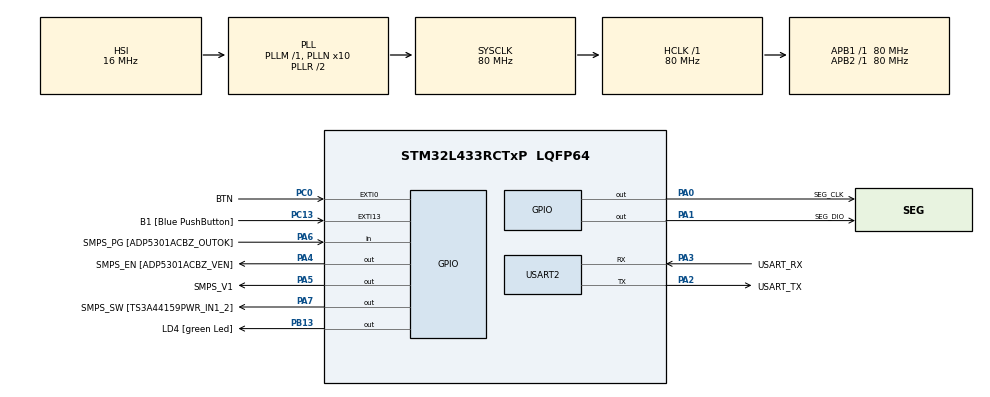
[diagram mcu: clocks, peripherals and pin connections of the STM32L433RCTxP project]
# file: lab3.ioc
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Mcu.Family=STM32L4
Mcu.Name=STM32L433RCTxP
Mcu.Package=LQFP64
NVIC.EXTI0_IRQn=true\:0\:0\:false\:false\:true\:true\:true\:true
NVIC.PriorityGroup=NVIC_PRIORITYGROUP_4
NVIC.TIM6_DAC_IRQn=true\:0\:0\:false\:false\:true\:true\:true\:true
PA0.GPIO_Label=SEG_CLK
PA0.GPIO_PuPd=GPIO_NOPULL
PA0.Signal=GPIO_Output
PA1.GPIO_Label=SEG_DIO
PA1.GPIO_ModeDefaultOutputPP=GPIO_MODE_OUTPUT_OD
PA1.GPIO_PuPd=GPIO_NOPULL
PA1.Signal=GPIO_Output
PA13\ (JTMS-SWDIO).GPIO_Label=TMS
PA13\ (JTMS-SWDIO).Mode=Serial_Wire
PA13\ (JTMS-SWDIO).Signal=SYS_JTMS-SWDIO
PA14\ (JTCK-SWCLK).GPIO_Label=TCK
PA14\ (JTCK-SWCLK).Mode=Serial_Wire
PA14\ (JTCK-SWCLK).Signal=SYS_JTCK-SWCLK
PA2.GPIO_Label=USART_TX
PA2.GPIO_Mode=GPIO_MODE_AF_PP
PA2.GPIO_PuPd=GPIO_NOPULL
PA2.GPIO_Speed=GPIO_SPEED_FREQ_VERY_HIGH
PA2.Mode=Asynchronous
PA2.Signal=USART2_TX
PA3.GPIO_Label=USART_RX
PA3.GPIO_Mode=GPIO_MODE_AF_PP
PA3.GPIO_PuPd=GPIO_NOPULL
PA3.GPIO_Speed=GPIO_SPEED_FREQ_VERY_HIGH
PA3.Mode=Asynchronous
PA3.Signal=USART2_RX
PA4.GPIO_Label=SMPS_EN [ADP5301ACBZ_VEN]
PA4.Signal=GPIO_Output
PA5.GPIO_Label=SMPS_V1
PA5.GPIO_ModeDefaultOutputPP=GPIO_MODE_OUTPUT_PP
PA5.GPIO_PuPd=GPIO_NOPULL
PA5.GPIO_Speed=GPIO_SPEED_FREQ_LOW
PA5.Signal=GPIO_Output
PA6.GPIO_Label=SMPS_PG [ADP5301ACBZ_OUTOK]
PA6.GPIO_PuPd=GPIO_PULLUP
PA6.Signal=GPIO_Input
PA7.GPIO_Label=SMPS_SW [TS3A44159PWR_IN1_2]
PA7.Signal=GPIO_Output
PB13.GPIO_Label=LD4 [green Led]
PB13.Signal=GPIO_Output
PB3\ (JTDO-TRACESWO).GPIO_Label=SWO
PB3\ (JTDO-TRACESWO).Signal=SYS_JTDO-SWO
PC0.GPIO_Label=BTN
PC0.GPIO_ModeDefaultEXTI=GPIO_MODE_IT_FALLING
PC0.Signal=GPXTI0
PC13.GPIO_Label=B1 [Blue PushButton]
PC13.GPIO_ModeDefaultEXTI=GPIO_MODE_IT_FALLING
PC13.GPIO_PuPd=GPIO_NOPULL
PC13.Signal=GPXTI13
PC14-OSC32_IN\ (PC14).Mode=LSE-External-Oscillator
PC14-OSC32_IN\ (PC14).Signal=RCC_OSC32_IN
PC15-OSC32_OUT\ (PC15).Mode=LSE-External-Oscillator
PC15-OSC32_OUT\ (PC15).Signal=RCC_OSC32_OUT
PH0-OSC_IN\ (PH0).GPIO_Label=MCO
PH0-OSC_IN\ (PH0).Mode=HSE-External-Clock-Source
PH0-OSC_IN\ (PH0).Signal=RCC_OSC_IN
PH1-OSC_OUT\ (PH1).Signal=RCC_OSC_OUT
ProjectManager.HeapSize=0x200
ProjectManager.StackSize=0x400
ProjectManager.TargetToolchain=STM32CubeIDE
RCC.ADCFreq_Value=64000000
RCC.AHBFreq_Value=80000000
RCC.APB1Freq_Value=80000000
RCC.APB1TimFreq_Value=80000000
RCC.APB2Freq_Value=80000000
RCC.APB2TimFreq_Value=80000000
RCC.CortexFreq_Value=80000000
RCC.HCLKFreq_Value=80000000
RCC.HSE_VALUE=8000000
RCC.HSI48_VALUE=48000000
RCC.HSI_VALUE=16000000
RCC.MSI_VALUE=4000000
RCC.PLLN=10
RCC.PLLSourceVirtual=RCC_PLLSOURCE_HSI
RCC.PREFETCH_ENABLE=1
RCC.SYSCLKFreq_VALUE=80000000
RCC.SYSCLKSource=RCC_SYSCLKSOURCE_PLLCLK
RCC.USBFreq_Value=64000000
RCC.VCOOutputFreq_Value=160000000
TIM6.Period=1999
TIM6.Prescaler=19999
USART2.VirtualMode-Asynchronous=VM_ASYNC
VP_TIM6_VS_ClockSourceINT.Mode=Enable_Timer
board=NUCLEO-L433RC-P

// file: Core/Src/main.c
/* USER CODE BEGIN Header */
/**
******************************************************************************
* @file           : main.c
* @brief          : Main program body
******************************************************************************
* @attention
*
* Copyright (c) 2025 STMicroelectronics.
* All rights reserved.
*
* This software is licensed under terms that can be found in the LICENSE file
* in the root directory of this software component.
* If no LICENSE file comes with this software, it is provided AS-IS.
*
******************************************************************************
*/
/* USER CODE END Header */
#include "main.h"

/* USER CODE BEGIN Includes */
#include "../Inc/quad_sseg.h"
#include <stdint.h>
#include <stdio.h>
#include <string.h>
/* USER CODE END Includes */

TIM_HandleTypeDef htim6;

UART_HandleTypeDef huart2;

void SystemClock_Config(void);
static void MX_GPIO_Init(void);
static void MX_USART2_UART_Init(void);
static void MX_TIM6_Init(void);

/* USER CODE BEGIN 0 */

#define BOUNCE_DELAY_MS 20

uint16_t button_exti_count = 0;
uint16_t button_debounced_count = 0;
uint16_t last_tick = 0;
int unhandled_exti = 0;
int pressed;

#if 1
uint32_t time = 86385;
#else
uint32_t time = 0;
#endif
uint32_t ticks = 0;

void dispay_time(uint32_t ticks, uint32_t time){
  // converts total seconds to hour, minute and seconds
  int h = time/3600;
  int m = (time-h*3600)/60;
  int s = (time-h*3600-m*60);

  int is_button_pressed = HAL_GPIO_ReadPin(B1_GPIO_Port, B1_Pin);

  switch(is_button_pressed){
    case 1:
      qs_put_digits(h/10, h%10, m/10, m%10, ticks%2);
      break;
    default:
      qs_put_digits(m/10, m%10, s/10, s%10, ticks%2);
      break;
  }
}

void HAL_TIM_PeriodElapsedCallback(TIM_HandleTypeDef *htim){

  // 2 Hz, each tick is 1/2 second.
  // when the ticks are even a second has passed

  if(htim->Instance == TIM6){
    ticks++;
    if(ticks%2==0){
      time++;
      if (time >= 86400){
        time = 0;
      }
    }
    dispay_time(ticks,time);
  }
}

void HAL_GPIO_EXTI_Callback(uint16_t GPIO_Pin)
{
  if(GPIO_Pin == BTN_Pin){
    unhandled_exti = 1;
    last_tick = HAL_GetTick();
    button_exti_count++;
  }
}

void uart_print(const char* str){
  HAL_UART_Transmit(&huart2, (uint8_t *) str, strlen(str), 255);
}

void uart_print_menu(){
  uart_print("This is very nice menu, yes? HEHE\r\nChoose your mode man!?!?!\r\n\t1. Clock mode\r\n\t2. Button Mode\r\n\r\n");
}

int uart_get_menu_choice(){

  char str[1] = {'\0'};
  uint16_t str_len = 1;
  HAL_UART_Receive(&huart2,
                   (uint8_t *) str,
                   str_len,
                   HAL_MAX_DELAY);
  int ret = -1;
  sscanf(str, "%d",&ret);
  return ret;

}

void clock_mode(){
  uart_print("CLOCK MODE!");
  // start the timer
  HAL_TIM_Base_Start_IT(&htim6);
}

void button_mode(){
  uart_print("BUTTON MODE!");
  while(1){
    if (unhandled_exti) // was set in interrupt
    {
      uint16_t now = HAL_GetTick();
      if((now - last_tick) >= BOUNCE_DELAY_MS){
        pressed = GPIO_PIN_RESET
          == HAL_GPIO_ReadPin(BTN_GPIO_Port, BTN_Pin);
        if (pressed) {
          button_debounced_count++;
        }
        unhandled_exti = 0;
      }
    }
    // if blue is holding we display the exti otherwise the deounced
    int b1_pressed = HAL_GPIO_ReadPin(B1_GPIO_Port, B1_Pin);
    if (b1_pressed) {
      qs_put_big_num(button_exti_count);
    }
    else{
      qs_put_big_num(button_debounced_count);
    }
  }
}

void uart_print_bad_choice(){
  uart_print("WHAT THE HECK. THATS NOT IN THE MENUUUU!?!?!?\r\n");
}
/* USER CODE END 0 */

int main(void)
{

  /* MCU Configuration--------------------------------------------------------*/

  /* Reset of all peripherals, Initializes the Flash interface and the Systick. */
  HAL_Init();

  /* Configure the system clock */
  SystemClock_Config();

  /* Initialize all configured peripherals */
  MX_GPIO_Init();
  MX_USART2_UART_Init();
  MX_TIM6_Init();

  /* Infinite loop */
  /* USER CODE BEGIN WHILE */

  while (1)
  {
    uart_print_menu();
    int menu = uart_get_menu_choice();
    switch(menu){
      case 1:
        clock_mode();
        break;
      case 2:
        button_mode();
        break;
      default:
        uart_print_bad_choice();
        break;
    }

    /* USER CODE END WHILE */

  }
}

void SystemClock_Config(void)
{
  RCC_OscInitTypeDef RCC_OscInitStruct = {0};
  RCC_ClkInitTypeDef RCC_ClkInitStruct = {0};

  /** Configure the main internal regulator output voltage
  */
  if (HAL_PWREx_ControlVoltageScaling(PWR_REGULATOR_VOLTAGE_SCALE1) != HAL_OK)
  {
    Error_Handler();
  }

  /** Initializes the RCC Oscillators according to the specified parameters
  * in the RCC_OscInitTypeDef structure.
  */
  RCC_OscInitStruct.OscillatorType = RCC_OSCILLATORTYPE_HSI;
  RCC_OscInitStruct.HSIState = RCC_HSI_ON;
  RCC_OscInitStruct.HSICalibrationValue = RCC_HSICALIBRATION_DEFAULT;
  RCC_OscInitStruct.PLL.PLLState = RCC_PLL_ON;
  RCC_OscInitStruct.PLL.PLLSource = RCC_PLLSOURCE_HSI;
  RCC_OscInitStruct.PLL.PLLM = 1;
  RCC_OscInitStruct.PLL.PLLN = 10;
  RCC_OscInitStruct.PLL.PLLP = RCC_PLLP_DIV7;
  RCC_OscInitStruct.PLL.PLLQ = RCC_PLLQ_DIV2;
  RCC_OscInitStruct.PLL.PLLR = RCC_PLLR_DIV2;
  if (HAL_RCC_OscConfig(&RCC_OscInitStruct) != HAL_OK)
  {
    Error_Handler();
  }

  /** Initializes the CPU, AHB and APB buses clocks
  */
  RCC_ClkInitStruct.ClockType = RCC_CLOCKTYPE_HCLK|RCC_CLOCKTYPE_SYSCLK
                              |RCC_CLOCKTYPE_PCLK1|RCC_CLOCKTYPE_PCLK2;
  RCC_ClkInitStruct.SYSCLKSource = RCC_SYSCLKSOURCE_PLLCLK;
  RCC_ClkInitStruct.AHBCLKDivider = RCC_SYSCLK_DIV1;
  RCC_ClkInitStruct.APB1CLKDivider = RCC_HCLK_DIV1;
  RCC_ClkInitStruct.APB2CLKDivider = RCC_HCLK_DIV1;

  if (HAL_RCC_ClockConfig(&RCC_ClkInitStruct, FLASH_LATENCY_4) != HAL_OK)
  {
    Error_Handler();
  }
}

static void MX_TIM6_Init(void)
{

  TIM_MasterConfigTypeDef sMasterConfig = {0};

  htim6.Instance = TIM6;
  htim6.Init.Prescaler = 19999;
  htim6.Init.CounterMode = TIM_COUNTERMODE_UP;
  htim6.Init.Period = 1999;
  htim6.Init.AutoReloadPreload = TIM_AUTORELOAD_PRELOAD_DISABLE;
  if (HAL_TIM_Base_Init(&htim6) != HAL_OK)
  {
    Error_Handler();
  }
  sMasterConfig.MasterOutputTrigger = TIM_TRGO_RESET;
  sMasterConfig.MasterSlaveMode = TIM_MASTERSLAVEMODE_DISABLE;
  if (HAL_TIMEx_MasterConfigSynchronization(&htim6, &sMasterConfig) != HAL_OK)
  {
    Error_Handler();
  }

}

static void MX_USART2_UART_Init(void)
{

  huart2.Instance = USART2;
  huart2.Init.BaudRate = 115200;
  huart2.Init.WordLength = UART_WORDLENGTH_8B;
  huart2.Init.StopBits = UART_STOPBITS_1;
  huart2.Init.Parity = UART_PARITY_NONE;
  huart2.Init.Mode = UART_MODE_TX_RX;
  huart2.Init.HwFlowCtl = UART_HWCONTROL_NONE;
  huart2.Init.OverSampling = UART_OVERSAMPLING_16;
  huart2.Init.OneBitSampling = UART_ONE_BIT_SAMPLE_DISABLE;
  huart2.AdvancedInit.AdvFeatureInit = UART_ADVFEATURE_NO_INIT;
  if (HAL_UART_Init(&huart2) != HAL_OK)
  {
    Error_Handler();
  }

}

static void MX_GPIO_Init(void)
{
  GPIO_InitTypeDef GPIO_InitStruct = {0};

  /* GPIO Ports Clock Enable */
  __HAL_RCC_GPIOC_CLK_ENABLE();
  __HAL_RCC_GPIOH_CLK_ENABLE();
  __HAL_RCC_GPIOA_CLK_ENABLE();
  __HAL_RCC_GPIOB_CLK_ENABLE();

  /*Configure GPIO pin Output Level */
  HAL_GPIO_WritePin(GPIOA, SEG_CLK_Pin|SEG_DIO_Pin|SMPS_EN_Pin|SMPS_V1_Pin
                          |SMPS_SW_Pin, GPIO_PIN_RESET);

  /*Configure GPIO pin Output Level */
  HAL_GPIO_WritePin(LD4_GPIO_Port, LD4_Pin, GPIO_PIN_RESET);

  /*Configure GPIO pins : B1_Pin BTN_Pin */
  GPIO_InitStruct.Pin = B1_Pin|BTN_Pin;
  GPIO_InitStruct.Mode = GPIO_MODE_IT_FALLING;
  GPIO_InitStruct.Pull = GPIO_NOPULL;
  HAL_GPIO_Init(GPIOC, &GPIO_InitStruct);

  /*Configure GPIO pins : SEG_CLK_Pin SMPS_EN_Pin SMPS_V1_Pin SMPS_SW_Pin */
  GPIO_InitStruct.Pin = SEG_CLK_Pin|SMPS_EN_Pin|SMPS_V1_Pin|SMPS_SW_Pin;
  GPIO_InitStruct.Mode = GPIO_MODE_OUTPUT_PP;
  GPIO_InitStruct.Pull = GPIO_NOPULL;
  GPIO_InitStruct.Speed = GPIO_SPEED_FREQ_LOW;
  HAL_GPIO_Init(GPIOA, &GPIO_InitStruct);

  /*Configure GPIO pin : SEG_DIO_Pin */
  GPIO_InitStruct.Pin = SEG_DIO_Pin;
  GPIO_InitStruct.Mode = GPIO_MODE_OUTPUT_OD;
  GPIO_InitStruct.Pull = GPIO_NOPULL;
  GPIO_InitStruct.Speed = GPIO_SPEED_FREQ_LOW;
  HAL_GPIO_Init(SEG_DIO_GPIO_Port, &GPIO_InitStruct);

  /*Configure GPIO pin : SMPS_PG_Pin */
  GPIO_InitStruct.Pin = SMPS_PG_Pin;
  GPIO_InitStruct.Mode = GPIO_MODE_INPUT;
  GPIO_InitStruct.Pull = GPIO_PULLUP;
  HAL_GPIO_Init(SMPS_PG_GPIO_Port, &GPIO_InitStruct);

  /*Configure GPIO pin : LD4_Pin */
  GPIO_InitStruct.Pin = LD4_Pin;
  GPIO_InitStruct.Mode = GPIO_MODE_OUTPUT_PP;
  GPIO_InitStruct.Pull = GPIO_NOPULL;
  GPIO_InitStruct.Speed = GPIO_SPEED_FREQ_LOW;
  HAL_GPIO_Init(LD4_GPIO_Port, &GPIO_InitStruct);

  /* EXTI interrupt init*/
  HAL_NVIC_SetPriority(EXTI0_IRQn, 0, 0);
  HAL_NVIC_EnableIRQ(EXTI0_IRQn);

}

void Error_Handler(void)
{
  __disable_irq();
  while (1)
  {
  }
}
